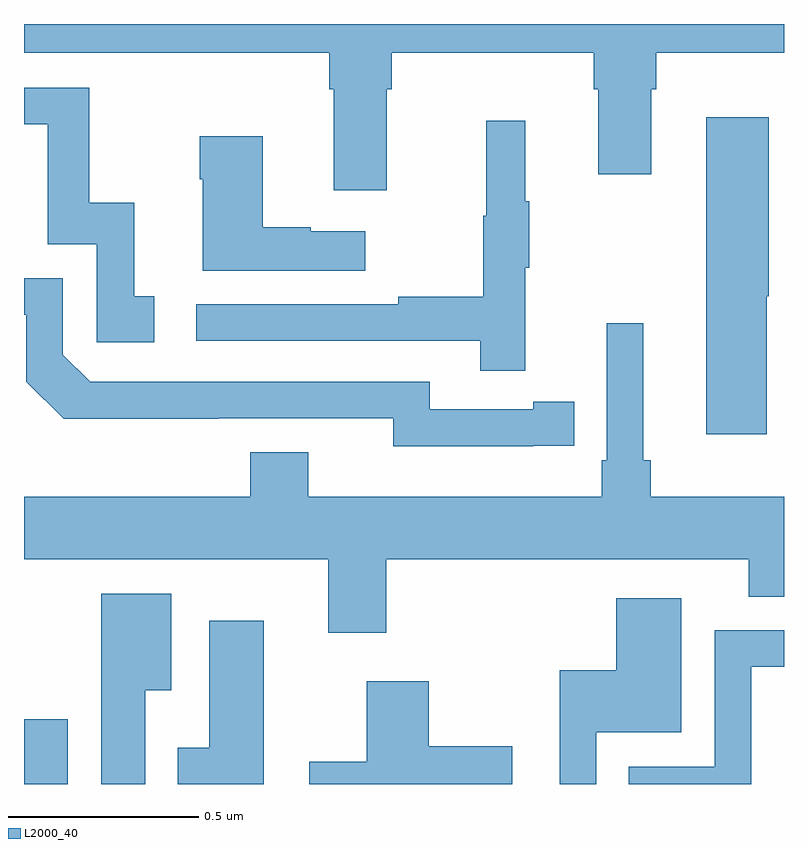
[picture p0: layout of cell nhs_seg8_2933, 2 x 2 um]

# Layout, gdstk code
import gdstk
lib = gdstk.Library(unit=1e-6, precision=1e-09)
def R(c, l, rs):  # rectangles x0, y0, x1, y1
    for r in rs: c.add(gdstk.rectangle(r[:2], r[2:], *l))
def P(c, l, *ps):  # polygons
    for p in ps: c.add(gdstk.Polygon(p, *l))
L2000_40 = (2000, 40)

nhs_seg8_2933 = lib.new_cell('nhs_seg8_2933')
R(nhs_seg8_2933, L2000_40, [(150,1123.9,150.115,1124.071)])
P(nhs_seg8_2933, L2000_40, [(150.955,1125.728),(150.968,1125.728),(150.968,1125.824),(151.499,1125.824),(151.499,1125.728),(151.511,1125.728),(151.511,1125.504),(151.651,1125.504),(151.651,1125.728),(151.664,1125.728),(151.664,1125.824),(152,1125.824),(152,1125.9),(150,1125.9),(150,1125.824),(150.803,1125.824),(150.803,1125.728),(150.815,1125.728),(150.815,1125.462),(150.955,1125.462)],
  [(150.343,1125.183),(150.29,1125.183),(150.29,1125.43),(150.172,1125.43),(150.172,1125.732),(150,1125.732),(150,1125.636),(150.063,1125.636),(150.063,1125.321),(150.192,1125.321),(150.192,1125.063),(150.343,1125.063)],
  [(151.955,1125.183),(151.96,1125.183),(151.96,1125.655),(151.796,1125.655),(151.796,1124.82),(151.955,1124.82)],
  [(151.319,1125.259),(151.33,1125.259),(151.33,1125.433),(151.319,1125.433),(151.319,1125.646),(151.216,1125.646),(151.216,1125.396),(151.209,1125.396),(151.209,1125.182),(150.985,1125.182),(150.985,1125.162),(150.453,1125.162),(150.453,1125.066),(151.201,1125.066),(151.201,1124.988),(151.319,1124.988)],
  [(150.898,1125.355),(150.755,1125.355),(150.755,1125.365),(150.628,1125.365),(150.628,1125.604),(150.463,1125.604),(150.463,1125.491),(150.47,1125.491),(150.47,1125.251),(150.898,1125.251)],
  [(151.34,1124.79),(151.448,1124.79),(151.448,1124.906),(151.34,1124.906),(151.34,1124.886),(151.068,1124.886),(151.068,1124.958),(150.174,1124.958),(150.102,1125.03),(150.102,1125.231),(150,1125.231),(150,1125.135),(150.006,1125.135),(150.006,1124.958),(150.104,1124.861),(150.512,1124.861),(150.512,1124.862),(150.972,1124.862),(150.972,1124.789),(151.34,1124.789)],
  [(150.748,1124.773),(150.596,1124.773),(150.596,1124.656),(150,1124.656),(150,1124.492),(150.8,1124.492),(150.8,1124.298),(150.953,1124.298),(150.953,1124.492),(151.907,1124.492),(151.907,1124.393),(152,1124.393),(152,1124.656),(151.649,1124.656),(151.649,1124.752),(151.63,1124.752),(151.63,1125.112),(151.533,1125.112),(151.533,1124.752),(151.52,1124.752),(151.52,1124.656),(150.748,1124.656)],
  [(150.319,1124.147),(150.388,1124.147),(150.388,1124.401),(150.203,1124.401),(150.203,1123.9),(150.319,1123.9)],
  [(151.506,1124.036),(151.729,1124.036),(151.729,1124.389),(151.559,1124.389),(151.559,1124.199),(151.41,1124.199),(151.41,1123.9),(151.506,1123.9)],
  [(150.631,1124.329),(150.488,1124.329),(150.488,1123.996),(150.404,1123.996),(150.404,1123.9),(150.631,1123.9)],
  [(151.914,1124.208),(152,1124.208),(152,1124.304),(151.818,1124.304),(151.818,1123.945),(151.591,1123.945),(151.591,1123.9),(151.914,1123.9)],
  [(151.285,1124),(151.065,1124),(151.065,1124.17),(150.902,1124.17),(150.902,1123.959),(150.75,1123.959),(150.75,1123.9),(151.285,1123.9)])

lib.write_gds('nhs_seg8_2933.gds')
